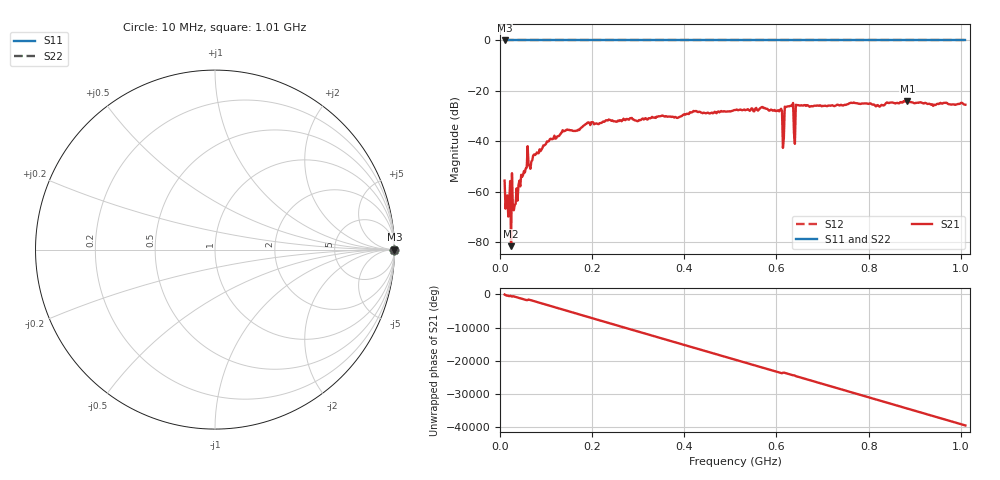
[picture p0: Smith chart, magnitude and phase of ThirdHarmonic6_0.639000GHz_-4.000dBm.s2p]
! 8/15/2025 9:07:35 PM
! C:\ANRITSUVNA\TEMP\TEMP.S2P
! CHANNEL.1
! TR.MEASUREMENT
! RAW.DATA
! RF.CORRECTION.OFF
! AVERAGING.OFF
! IF.BANDWIDTH: 5KHZ
! SWEEPTYPE:  FREQ.SWEEP(Linear)
! Reference Plane Port Info
! PORT:  PORT1  PORT2
! DISTANCE:  0  m  0  m
! TIME:  0  s  0  s
! PHASE.OFFSET:  0  deg.  0  deg.
! LOSS:  0  dB  0  dB
! REF.LOSS:  0  dB  0  dB
! REF.FREQ:  0  Hz  0  Hz
! Power Info
! POWER:  -20  dBm  -20  dBm
! EFF.POWER:  -20  dBm  -20  dBm
! SOURCE.ATTEN:  0  dB  0  dB
! TEST.ATTEN:  0  dB  0  dB
# GHZ S RI R 50.0
! FREQ.GHZ  S11RE  S11IM  S21RE  S21IM  S12RE  S12IM  S22RE  S22IM
!; PortSelection: Port_12
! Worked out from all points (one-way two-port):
!   501 points, 10 MHz to 1.01 GHz, reference 50 ohm
!   highest |S21| = -23.95 dB at 884 MHz (marker M1); lowest = -81.5 dB at 24 MHz (marker M2)
!   lowest |S11| = 0.0 dB at 10 MHz (marker M3)
!   |S11| at or under -10 dB: nowhere
!   |S22| runs from 0.0 to 0.0 dB; largest |S21 - S12| = 1.1
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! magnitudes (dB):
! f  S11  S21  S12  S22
! 10 MHz  0.0  -55.5  0.0  0.0
! 16 MHz  0.0  -61.4  0.0  0.0
! 24 MHz  0.0  -81.5  0.0  0.0
! 28 MHz  0.0  -66.7  0.0  0.0
! 56 MHz  0.0  -50.6  0.0  0.0
! 76 MHz  0.0  -45.4  0.0  0.0
! 138 MHz  0.0  -36.0  0.0  0.0
! 178 MHz  0.0  -34.3  0.0  0.0
! 344 MHz  0.0  -30.0  0.0  0.0
! 510 MHz  0.0  -27.5  0.0  0.0
! 608 MHz  0.0  -27.6  0.0  0.0
! 612 MHz  0.0  -27.9  0.0  0.0
! 618 MHz  0.0  -26.2  0.0  0.0
! 622 MHz  0.0  -26.2  0.0  0.0
! 632 MHz  0.0  -25.8  0.0  0.0
! 636 MHz  0.0  -24.8  0.0  0.0
! 642 MHz  0.0  -25.5  0.0  0.0
! 646 MHz  0.0  -25.6  0.0  0.0
! 678 MHz  0.0  -26.1  0.0  0.0
! 844 MHz  0.0  -24.8  0.0  0.0
! 884 MHz  0.0  -23.9  0.0  0.0
! 1.01 GHz  0.0  -25.5  0.0  0.0
